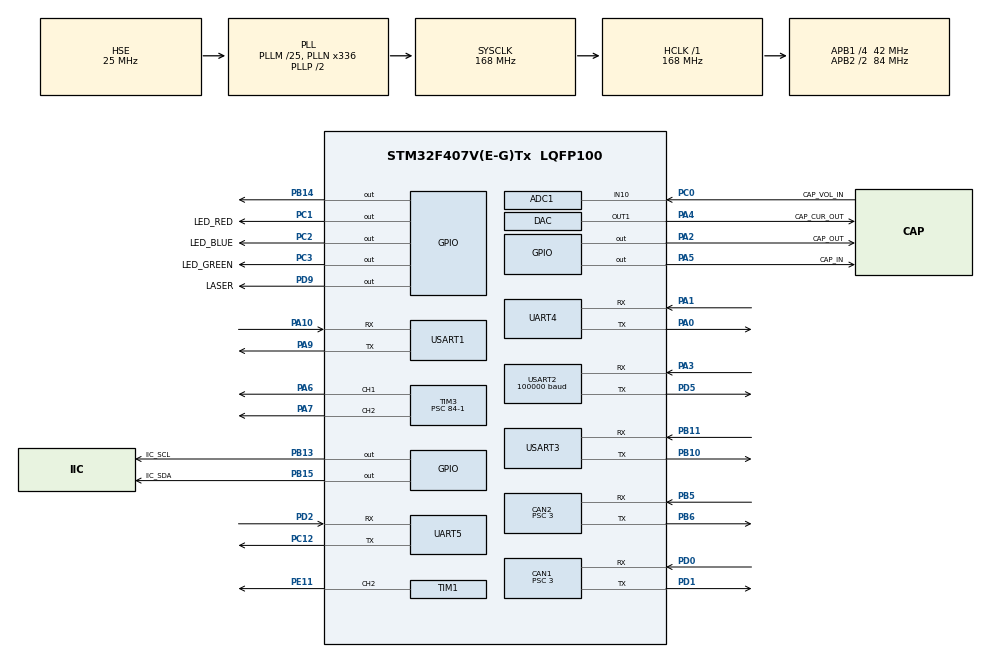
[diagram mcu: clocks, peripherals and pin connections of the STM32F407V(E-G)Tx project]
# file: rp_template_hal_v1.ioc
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ADC1.Channel-0\#ChannelRegularConversion=ADC_CHANNEL_10
ADC1.NbrOfConversionFlag=1
ADC1.Rank-0\#ChannelRegularConversion=1
ADC1.SamplingTime-0\#ChannelRegularConversion=ADC_SAMPLETIME_3CYCLES
ADC1.master=1
CAN1.BS1=CAN_BS1_9TQ
CAN1.BS2=CAN_BS2_4TQ
CAN1.CalculateBaudRate=1000000
CAN1.CalculateTimeQuantum=71.42857142857143
CAN1.Prescaler=3
CAN1.TXFP=ENABLE
CAN2.BS1=CAN_BS1_9TQ
CAN2.BS2=CAN_BS2_4TQ
CAN2.CalculateBaudRate=1000000
CAN2.CalculateTimeQuantum=71.42857142857143
CAN2.Prescaler=3
CAN2.TXFP=ENABLE
DAC.DAC_OutputBuffer=DAC_OUTPUTBUFFER_DISABLE
Dma.Request0=UART5_RX
Dma.Request1=USART1_RX
Dma.Request2=UART4_RX
Dma.Request3=USART2_RX
Dma.Request4=UART5_TX
Dma.Request5=USART3_RX
Dma.Request6=USART3_TX
Dma.UART4_RX.2.Direction=DMA_PERIPH_TO_MEMORY
Dma.UART4_RX.2.FIFOMode=DMA_FIFOMODE_DISABLE
Dma.UART4_RX.2.Instance=DMA1_Stream2
Dma.UART4_RX.2.MemDataAlignment=DMA_MDATAALIGN_BYTE
Dma.UART4_RX.2.MemInc=DMA_MINC_ENABLE
Dma.UART4_RX.2.Mode=DMA_CIRCULAR
Dma.UART4_RX.2.PeriphDataAlignment=DMA_PDATAALIGN_BYTE
Dma.UART4_RX.2.PeriphInc=DMA_PINC_DISABLE
Dma.UART4_RX.2.Priority=DMA_PRIORITY_LOW
Dma.UART5_RX.0.Direction=DMA_PERIPH_TO_MEMORY
Dma.UART5_RX.0.FIFOMode=DMA_FIFOMODE_DISABLE
Dma.UART5_RX.0.Instance=DMA1_Stream0
Dma.UART5_RX.0.MemDataAlignment=DMA_MDATAALIGN_BYTE
Dma.UART5_RX.0.MemInc=DMA_MINC_ENABLE
Dma.UART5_RX.0.Mode=DMA_CIRCULAR
Dma.UART5_RX.0.PeriphDataAlignment=DMA_PDATAALIGN_BYTE
Dma.UART5_RX.0.PeriphInc=DMA_PINC_DISABLE
Dma.UART5_RX.0.Priority=DMA_PRIORITY_VERY_HIGH
Dma.UART5_TX.4.Direction=DMA_MEMORY_TO_PERIPH
Dma.UART5_TX.4.FIFOMode=DMA_FIFOMODE_DISABLE
Dma.UART5_TX.4.Instance=DMA1_Stream7
Dma.UART5_TX.4.MemDataAlignment=DMA_MDATAALIGN_BYTE
Dma.UART5_TX.4.MemInc=DMA_MINC_ENABLE
Dma.UART5_TX.4.Mode=DMA_CIRCULAR
Dma.UART5_TX.4.PeriphDataAlignment=DMA_PDATAALIGN_BYTE
Dma.UART5_TX.4.PeriphInc=DMA_PINC_DISABLE
Dma.UART5_TX.4.Priority=DMA_PRIORITY_VERY_HIGH
Dma.USART1_RX.1.Direction=DMA_PERIPH_TO_MEMORY
Dma.USART1_RX.1.FIFOMode=DMA_FIFOMODE_DISABLE
Dma.USART1_RX.1.Instance=DMA2_Stream2
Dma.USART1_RX.1.MemDataAlignment=DMA_MDATAALIGN_BYTE
Dma.USART1_RX.1.MemInc=DMA_MINC_ENABLE
Dma.USART1_RX.1.Mode=DMA_CIRCULAR
Dma.USART1_RX.1.PeriphDataAlignment=DMA_PDATAALIGN_BYTE
Dma.USART1_RX.1.PeriphInc=DMA_PINC_DISABLE
Dma.USART1_RX.1.Priority=DMA_PRIORITY_HIGH
Dma.USART2_RX.3.Direction=DMA_PERIPH_TO_MEMORY
Dma.USART2_RX.3.FIFOMode=DMA_FIFOMODE_DISABLE
Dma.USART2_RX.3.Instance=DMA1_Stream5
Dma.USART2_RX.3.MemDataAlignment=DMA_MDATAALIGN_BYTE
Dma.USART2_RX.3.MemInc=DMA_MINC_ENABLE
Dma.USART2_RX.3.Mode=DMA_CIRCULAR
Dma.USART2_RX.3.PeriphDataAlignment=DMA_PDATAALIGN_BYTE
Dma.USART2_RX.3.PeriphInc=DMA_PINC_DISABLE
Dma.USART2_RX.3.Priority=DMA_PRIORITY_VERY_HIGH
Dma.USART3_RX.5.Direction=DMA_PERIPH_TO_MEMORY
Dma.USART3_RX.5.FIFOMode=DMA_FIFOMODE_DISABLE
Dma.USART3_RX.5.Instance=DMA1_Stream1
Dma.USART3_RX.5.MemDataAlignment=DMA_MDATAALIGN_BYTE
Dma.USART3_RX.5.MemInc=DMA_MINC_ENABLE
Dma.USART3_RX.5.Mode=DMA_CIRCULAR
Dma.USART3_RX.5.PeriphDataAlignment=DMA_PDATAALIGN_BYTE
Dma.USART3_RX.5.PeriphInc=DMA_PINC_DISABLE
Dma.USART3_RX.5.Priority=DMA_PRIORITY_HIGH
Dma.USART3_TX.6.Direction=DMA_MEMORY_TO_PERIPH
Dma.USART3_TX.6.FIFOMode=DMA_FIFOMODE_DISABLE
Dma.USART3_TX.6.Instance=DMA1_Stream3
Dma.USART3_TX.6.MemDataAlignment=DMA_MDATAALIGN_BYTE
Dma.USART3_TX.6.MemInc=DMA_MINC_ENABLE
Dma.USART3_TX.6.Mode=DMA_CIRCULAR
Dma.USART3_TX.6.PeriphDataAlignment=DMA_PDATAALIGN_BYTE
Dma.USART3_TX.6.PeriphInc=DMA_PINC_DISABLE
Dma.USART3_TX.6.Priority=DMA_PRIORITY_HIGH
FREERTOS.Tasks01=MonitorTask,0,256,StartMonitorTask,As weak,NULL,Dynamic,NULL,NULL;Check_Task,-3,128,CheckTask,As external,NULL,Dynamic,NULL,NULL;BMI_Task,-3,128,BmiUpdateTask,As external,NULL,Dynamic,NULL,NULL;Gimbal_Task,-3,128,GimbalTask,As external,NULL,Dynamic,NULL,NULL;Shoot_Task,-3,128,ShootTask,As external,NULL,Dynamic,NULL,NULL;H2M_Task,-3,128,H2MTask,As external,NULL,Dynamic,NULL,NULL
Mcu.Family=STM32F4
Mcu.Name=STM32F407V(E-G)Tx
Mcu.Package=LQFP100
NVIC.CAN1_RX0_IRQn=true\:5\:0\:false\:false\:true\:true\:true\:true\:true
NVIC.CAN2_RX0_IRQn=true\:5\:0\:false\:false\:true\:true\:true\:true\:true
NVIC.DMA1_Stream0_IRQn=true\:5\:0\:false\:false\:true\:true\:false\:true\:true
NVIC.DMA1_Stream1_IRQn=true\:5\:0\:false\:false\:true\:true\:false\:true\:true
NVIC.DMA1_Stream2_IRQn=true\:5\:0\:false\:false\:true\:true\:false\:true\:true
NVIC.DMA1_Stream3_IRQn=true\:5\:0\:false\:false\:true\:true\:false\:true\:true
NVIC.DMA1_Stream5_IRQn=true\:5\:0\:false\:false\:true\:true\:false\:true\:true
NVIC.DMA1_Stream7_IRQn=true\:5\:0\:false\:false\:true\:true\:false\:true\:true
NVIC.DMA2_Stream2_IRQn=true\:5\:0\:false\:false\:true\:true\:false\:true\:true
NVIC.PriorityGroup=NVIC_PRIORITYGROUP_4
NVIC.TIM2_IRQn=true\:0\:0\:false\:false\:true\:false\:false\:true\:true
NVIC.TimeBase=TIM2_IRQn
NVIC.TimeBaseIP=TIM2
NVIC.UART4_IRQn=true\:5\:0\:false\:false\:true\:true\:true\:true\:true
NVIC.UART5_IRQn=true\:5\:0\:false\:false\:true\:true\:true\:true\:true
NVIC.USART1_IRQn=true\:5\:0\:false\:false\:true\:true\:true\:true\:true
NVIC.USART2_IRQn=true\:5\:0\:false\:false\:true\:true\:true\:true\:true
NVIC.USART3_IRQn=true\:5\:0\:false\:false\:true\:false\:true\:true\:true
PA0-WKUP.Mode=Asynchronous
PA0-WKUP.Signal=UART4_TX
PA1.Mode=Asynchronous
PA1.Signal=UART4_RX
PA10.Mode=Asynchronous
PA10.Signal=USART1_RX
PA2.GPIO_Label=CAP_OUT
PA2.GPIO_Speed=GPIO_SPEED_FREQ_VERY_HIGH
PA2.Signal=GPIO_Output
PA3.Mode=Asynchronous
PA3.Signal=USART2_RX
PA4.GPIO_Label=CAP_CUR_OUT
PA4.Signal=COMP_DAC1_group
PA5.GPIO_Label=CAP_IN
PA5.GPIO_Speed=GPIO_SPEED_FREQ_VERY_HIGH
PA5.Signal=GPIO_Output
PA6.Signal=S_TIM3_CH1
PA7.Signal=S_TIM3_CH2
PA9.Mode=Asynchronous
PA9.Signal=USART1_TX
PB10.Mode=Asynchronous
PB10.Signal=USART3_TX
PB11.Mode=Asynchronous
PB11.Signal=USART3_RX
PB13.GPIO_Label=IIC_SCL
PB13.GPIO_Speed=GPIO_SPEED_FREQ_VERY_HIGH
PB13.PinState=GPIO_PIN_SET
PB13.Signal=GPIO_Output
PB14.GPIO_ModeDefaultOutputPP=GPIO_MODE_OUTPUT_PP
PB14.GPIO_PuPd=GPIO_PULLUP
PB14.GPIO_Speed=GPIO_SPEED_FREQ_VERY_HIGH
PB14.PinState=GPIO_PIN_SET
PB14.Signal=GPIO_Output
PB15.GPIO_Label=IIC_SDA
PB15.GPIO_Speed=GPIO_SPEED_FREQ_VERY_HIGH
PB15.PinState=GPIO_PIN_SET
PB15.Signal=GPIO_Output
PB5.Mode=CAN_Activate
PB5.Signal=CAN2_RX
PB6.Mode=CAN_Activate
PB6.Signal=CAN2_TX
PC0.GPIO_Label=CAP_VOL_IN
PC0.Signal=ADCx_IN10
PC1.GPIO_Label=LED_RED
PC1.PinState=GPIO_PIN_SET
PC1.Signal=GPIO_Output
PC12.Mode=Asynchronous
PC12.Signal=UART5_TX
PC2.GPIO_Label=LED_BLUE
PC2.PinState=GPIO_PIN_SET
PC2.Signal=GPIO_Output
PC3.GPIO_Label=LED_GREEN
PC3.GPIO_Speed=GPIO_SPEED_FREQ_LOW
PC3.PinState=GPIO_PIN_SET
PC3.Signal=GPIO_Output
PD0.Mode=CAN_Activate
PD0.Signal=CAN1_RX
PD1.Mode=CAN_Activate
PD1.Signal=CAN1_TX
PD2.Mode=Asynchronous
PD2.Signal=UART5_RX
PD5.Mode=Asynchronous
PD5.Signal=USART2_TX
PD9.GPIO_Label=LASER
PD9.GPIO_Speed=GPIO_SPEED_FREQ_LOW
PD9.PinState=GPIO_PIN_SET
PD9.Signal=GPIO_Output
PE11.Signal=S_TIM1_CH2
PH0-OSC_IN.Mode=HSE-External-Oscillator
PH0-OSC_IN.Signal=RCC_OSC_IN
PH1-OSC_OUT.Mode=HSE-External-Oscillator
PH1-OSC_OUT.Signal=RCC_OSC_OUT
ProjectManager.HeapSize=0x200
ProjectManager.StackSize=0x400
ProjectManager.TargetToolchain=MDK-ARM V5.32
RCC.48MHZClocksFreq_Value=84000000
RCC.AHBFreq_Value=168000000
RCC.APB1CLKDivider=RCC_HCLK_DIV4
RCC.APB1Freq_Value=42000000
RCC.APB1TimFreq_Value=84000000
RCC.APB2CLKDivider=RCC_HCLK_DIV2
RCC.APB2Freq_Value=84000000
RCC.APB2TimFreq_Value=168000000
RCC.CortexFreq_Value=168000000
RCC.HCLKFreq_Value=168000000
RCC.HSE_VALUE=25000000
RCC.HSI_VALUE=16000000
RCC.LSE_VALUE=32768
RCC.PLLM=25
RCC.PLLN=336
RCC.PLLSourceVirtual=RCC_PLLSOURCE_HSE
RCC.SYSCLKFreq_VALUE=168000000
RCC.SYSCLKSource=RCC_SYSCLKSOURCE_PLLCLK
RCC.VCOOutputFreq_Value=336000000
SH.ADCx_IN10.0=ADC1_IN10,IN10
SH.COMP_DAC1_group.0=DAC_OUT1,DAC_OUT1
SH.S_TIM1_CH2.0=TIM1_CH2,PWM Generation2 CH2
SH.S_TIM3_CH1.0=TIM3_CH1,PWM Generation1 CH1
SH.S_TIM3_CH2.0=TIM3_CH2,PWM Generation2 CH2
TIM1.Channel-PWM\ Generation2\ CH2=TIM_CHANNEL_2
TIM1.Period=1000-1
TIM1.Prescaler=3360-1
TIM3.Channel-PWM\ Generation1\ CH1=TIM_CHANNEL_1
TIM3.Channel-PWM\ Generation2\ CH2=TIM_CHANNEL_2
TIM3.Period=2500-1
TIM3.Prescaler=84-1
UART4.VirtualMode=Asynchronous
UART5.VirtualMode=Asynchronous
USART1.VirtualMode=VM_ASYNC
USART2.BaudRate=100000
USART2.VirtualMode=VM_ASYNC
USART3.VirtualMode=VM_ASYNC
VP_FREERTOS_VS_CMSIS_V1.Mode=CMSIS_V1
VP_IWDG_VS_IWDG.Mode=IWDG_Activate
VP_SYS_VS_tim2.Mode=TIM2
VP_TIM1_VS_ClockSourceINT.Mode=Internal
VP_TIM3_VS_ClockSourceINT.Mode=Internal
board=custom

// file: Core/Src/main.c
/* USER CODE BEGIN Header */
/**
  ******************************************************************************
  * @file           : main.c
  * @brief          : Main program body
  ******************************************************************************
  * @attention
  *
  * <h2><center>&copy; Copyright (c) 2023 STMicroelectronics.
  * All rights reserved.</center></h2>
  *
  * This software component is licensed by ST under Ultimate Liberty license
  * SLA0044, the "License"; You may not use this file except in compliance with
  * the License. You may obtain a copy of the License at:
  *                             www.st.com/SLA0044
  *
  ******************************************************************************
  */
/* USER CODE END Header */
#include "main.h"
#include "cmsis_os.h"
#include "adc.h"
#include "can.h"
#include "dac.h"
#include "dma.h"
#include "iwdg.h"
#include "tim.h"
#include "usart.h"
#include "gpio.h"

/* USER CODE BEGIN Includes */
#include "driver.h"
#include "bmi.h"
#include "remote.h"
#include "9015_motor.h"
#include "3508_motor.h"
#include "dji_pid.h"
#include "can_protocol.h"
#include "rp_shoot.h"
#include "rp_gimbal.h"
#include "bmi2_defs.h"
/* USER CODE END Includes */

/* USER CODE BEGIN PV */

/*陀螺仪数据*/
bmi_t bmi_structure;
short gyrox, gyroy, gyroz;
short accx, accy, accz;

extern Master_Head_t          Master_Head_structure;
extern gimbal_t               gimbal_structure;
shoot_t                       shoot_structure;

/* USER CODE END PV */

void SystemClock_Config(void);
void MX_FREERTOS_Init(void);

int main(void)
{

  /* MCU Configuration--------------------------------------------------------*/

  /* Reset of all peripherals, Initializes the Flash interface and the Systick. */
  HAL_Init();

  /* Configure the system clock */
  SystemClock_Config();

  /* Initialize all configured peripherals */
  MX_GPIO_Init();
  MX_DMA_Init();
  MX_TIM3_Init();
  MX_USART2_UART_Init();
  MX_CAN1_Init();
  MX_CAN2_Init();
  MX_TIM1_Init();
  MX_ADC1_Init();
  MX_DAC_Init();
  MX_UART4_Init();
  MX_UART5_Init();
  MX_USART1_UART_Init();
  MX_USART3_UART_Init();
  MX_IWDG_Init();
  /* USER CODE BEGIN 2 */

  DRIVER_Init();
  /*初始化*/
  Master_Head_INIT(&Master_Head_structure);

  gimbal_init(&gimbal_structure);

  SHOOT_INIT(&shoot_structure);

  LASER_ON();

  HAL_GPIO_WritePin(GPIOB,GPIO_PIN_14, GPIO_PIN_RESET);

  my_bmi_init();

  MX_IWDG_Init();
  /*检测上弹是否完成(这样好像上电就会打一发)*/
//  while(!shoot_structure.flag.locked)
//  {
//	shoot_structure.base.shoot_speed = -1000;
//	Running_Fire(&shoot_structure);
//	Done_Check(&shoot_structure);
//
//  }
//	shoot_structure.base.shoot_speed = 0;

  /* USER CODE END 2 */

  /* Call init function for freertos objects (in freertos.c) */
  MX_FREERTOS_Init();

  /* Start scheduler */
  osKernelStart();

  /* We should never get here as control is now taken by the scheduler */
  /* Infinite loop */
  while (1)
  {

  }
}

void SystemClock_Config(void)
{
  RCC_OscInitTypeDef RCC_OscInitStruct = {0};
  RCC_ClkInitTypeDef RCC_ClkInitStruct = {0};

  /** Configure the main internal regulator output voltage
  */
  __HAL_RCC_PWR_CLK_ENABLE();
  __HAL_PWR_VOLTAGESCALING_CONFIG(PWR_REGULATOR_VOLTAGE_SCALE1);

  /** Initializes the RCC Oscillators according to the specified parameters
  * in the RCC_OscInitTypeDef structure.
  */
  RCC_OscInitStruct.OscillatorType = RCC_OSCILLATORTYPE_LSI|RCC_OSCILLATORTYPE_HSE;
  RCC_OscInitStruct.HSEState = RCC_HSE_ON;
  RCC_OscInitStruct.LSIState = RCC_LSI_ON;
  RCC_OscInitStruct.PLL.PLLState = RCC_PLL_ON;
  RCC_OscInitStruct.PLL.PLLSource = RCC_PLLSOURCE_HSE;
  RCC_OscInitStruct.PLL.PLLM = 25;
  RCC_OscInitStruct.PLL.PLLN = 336;
  RCC_OscInitStruct.PLL.PLLP = RCC_PLLP_DIV2;
  RCC_OscInitStruct.PLL.PLLQ = 4;
  if (HAL_RCC_OscConfig(&RCC_OscInitStruct) != HAL_OK)
  {
    Error_Handler();
  }

  /** Initializes the CPU, AHB and APB buses clocks
  */
  RCC_ClkInitStruct.ClockType = RCC_CLOCKTYPE_HCLK|RCC_CLOCKTYPE_SYSCLK
                              |RCC_CLOCKTYPE_PCLK1|RCC_CLOCKTYPE_PCLK2;
  RCC_ClkInitStruct.SYSCLKSource = RCC_SYSCLKSOURCE_PLLCLK;
  RCC_ClkInitStruct.AHBCLKDivider = RCC_SYSCLK_DIV1;
  RCC_ClkInitStruct.APB1CLKDivider = RCC_HCLK_DIV4;
  RCC_ClkInitStruct.APB2CLKDivider = RCC_HCLK_DIV2;

  if (HAL_RCC_ClockConfig(&RCC_ClkInitStruct, FLASH_LATENCY_5) != HAL_OK)
  {
    Error_Handler();
  }
}

void HAL_TIM_PeriodElapsedCallback(TIM_HandleTypeDef *htim)
{
  if (htim->Instance == TIM2) {
    HAL_IncTick();
  }
}

void Error_Handler(void)
{
}
